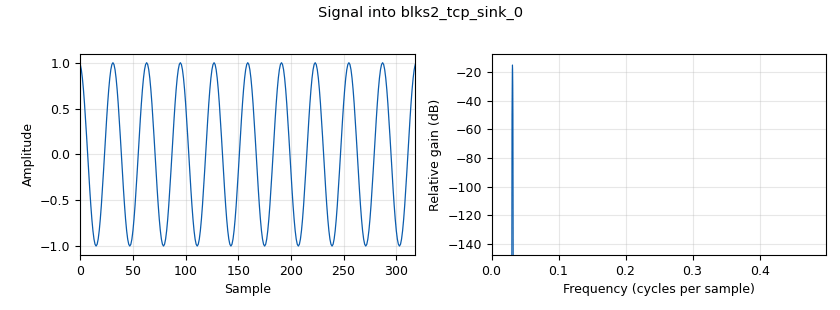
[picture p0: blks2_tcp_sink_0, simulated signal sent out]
<?xml version='1.0' encoding='utf-8'?>
<flow_graph>
<block>
<key>variable</key>
<param><key>id</key><value>samp_rate</value></param>
<param><key>value</key><value>32000</value></param>
</block>
<block>
<key>variable</key>
<param><key>id</key><value>my_var</value></param>
<param><key>value</key><value>11</value></param>
</block>
<block>
<key>analog_sig_source_x</key>
<param><key>id</key><value>analog_sig_source_x_0</value></param>
<param><key>type</key><value>float</value></param>
<param><key>samp_rate</key><value>samp_rate</value></param>
<param><key>waveform</key><value>analog.GR_COS_WAVE</value></param>
<param><key>freq</key><value>freq</value></param>
<param><key>amp</key><value>1</value></param>
<param><key>offset</key><value>0</value></param>
</block>
<block>
<key>variable_slider</key>
<param><key>id</key><value>freq</value></param>
<param><key>label</key><value>Frequency</value></param>
<param><key>value</key><value>1e3</value></param>
<param><key>min</key><value>0</value></param>
<param><key>max</key><value>16e3</value></param>
<param><key>num_steps</key><value>1000</value></param>
<param><key>style</key><value>wx.SL_HORIZONTAL</value></param>
<param><key>converver</key><value>float_converter</value></param>
</block>
<block>
<key>blocks_throttle</key>
<param><key>id</key><value>blocks_throttle_0</value></param>
<param><key>type</key><value>float</value></param>
<param><key>samples_per_second</key><value>samp_rate</value></param>
</block>
<block>
<key>blks2_tcp_sink</key>
<param><key>id</key><value>blks2_tcp_sink_0</value></param>
<param><key>type</key><value>float</value></param>
<param><key>addr</key><value>127.0.0.1</value></param>
<param><key>port</key><value>12345</value></param>
<param><key>server</key><value>False</value></param>
<param><key>vlen</key><value>1</value></param>
</block>
<block>
<key>wxgui_scopesink2</key>
<param><key>id</key><value>wxgui_scopesink2_0</value></param>
<param><key>_enabled</key><value>False</value></param>
<param><key>type</key><value>float</value></param>
<param><key>title</key><value>Scope Plot</value></param>
<param><key>samp_rate</key><value>samp_rate</value></param>
<param><key>v_scale</key><value>0</value></param>
<param><key>v_offset</key><value>0</value></param>
<param><key>t_scale</key><value>0</value></param>
<param><key>ac_couple</key><value>False</value></param>
<param><key>xy_mode</key><value>False</value></param>
<param><key>num_inputs</key><value>1</value></param>
<param><key>trig_mode</key><value>wxgui.TRIG_MODE_AUTO</value></param>
<param><key>y_axis_label</key><value>Counts</value></param>
</block>
<block>
<key>wxgui_scopesink2</key>
<param><key>id</key><value>wxgui_scopesink2_0_0</value></param>
<param><key>type</key><value>float</value></param>
<param><key>title</key><value>Scope Plot</value></param>
<param><key>samp_rate</key><value>samp_rate</value></param>
<param><key>v_scale</key><value>0</value></param>
<param><key>v_offset</key><value>0</value></param>
<param><key>t_scale</key><value>0</value></param>
<param><key>ac_couple</key><value>False</value></param>
<param><key>xy_mode</key><value>False</value></param>
<param><key>num_inputs</key><value>1</value></param>
<param><key>trig_mode</key><value>wxgui.TRIG_MODE_AUTO</value></param>
<param><key>y_axis_label</key><value>Counts</value></param>
</block>
<block>
<key>options</key>
<param><key>id</key><value>top_block</value></param>
<param><key>generate_options</key><value>wx_gui</value></param>
<param><key>category</key><value>Custom</value></param>
</block>
<block>
<key>options</key>
<param><key>id</key><value>tcp_server</value></param>
<param><key>generate_options</key><value>wx_gui</value></param>
<param><key>category</key><value>Custom</value></param>
</block>
<block>
<key>blks2_tcp_source</key>
<param><key>id</key><value>blks2_tcp_source_0</value></param>
<param><key>type</key><value>float</value></param>
<param><key>addr</key><value>127.0.0.1</value></param>
<param><key>port</key><value>12345</value></param>
<param><key>server</key><value>True</value></param>
<param><key>vlen</key><value>1</value></param>
</block>
<connection><source_block_id>analog_sig_source_x_0</source_block_id><sink_block_id>blocks_throttle_0</sink_block_id><source_key>0</source_key><sink_key>0</sink_key></connection>
<connection><source_block_id>blocks_throttle_0</source_block_id><sink_block_id>wxgui_scopesink2_0</sink_block_id><source_key>0</source_key><sink_key>0</sink_key></connection>
<connection><source_block_id>blocks_throttle_0</source_block_id><sink_block_id>blks2_tcp_sink_0</sink_block_id><source_key>0</source_key><sink_key>0</sink_key></connection>
<connection><source_block_id>blks2_tcp_source_0</source_block_id><sink_block_id>wxgui_scopesink2_0_0</sink_block_id><source_key>0</source_key><sink_key>0</sink_key></connection>
</flow_graph>
